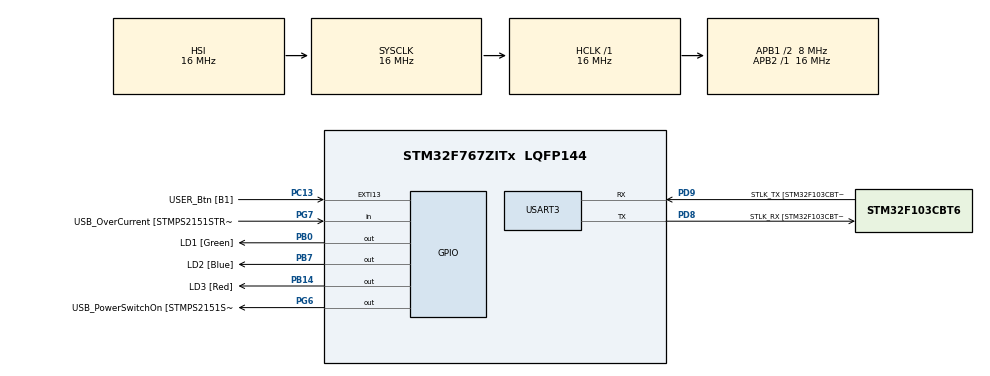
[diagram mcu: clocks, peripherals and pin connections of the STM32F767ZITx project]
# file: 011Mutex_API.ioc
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Mcu.Family=STM32F7
Mcu.Name=STM32F767ZITx
Mcu.Package=LQFP144
NVIC.PriorityGroup=NVIC_PRIORITYGROUP_4
NVIC.TIM6_DAC_IRQn=true\:15\:0\:false\:false\:true\:false\:true\:true
NVIC.TimeBase=TIM6_DAC_IRQn
NVIC.TimeBaseIP=TIM6
NVIC.USART3_IRQn=true\:6\:0\:true\:false\:true\:true\:true\:true
PA1.GPIO_Label=RMII_REF_CLK [LAN8742A-CZ-TR_REFCLK0]
PA1.Signal=ETH_REF_CLK
PA10.GPIO_Label=USB_ID
PA10.Signal=USB_OTG_FS_ID
PA11.GPIO_Label=USB_DM
PA11.Signal=USB_OTG_FS_DM
PA12.GPIO_Label=USB_DP
PA12.Signal=USB_OTG_FS_DP
PA13.GPIO_Label=TMS
PA13.Signal=SYS_JTMS-SWDIO
PA14.GPIO_Label=TCK
PA14.Signal=SYS_JTCK-SWCLK
PA2.GPIO_Label=RMII_MDIO [LAN8742A-CZ-TR_MDIO]
PA2.Signal=ETH_MDIO
PA7.GPIO_Label=RMII_CRS_DV [LAN8742A-CZ-TR_CRS_DV]
PA7.Signal=ETH_CRS_DV
PA8.GPIO_Label=USB_SOF [TP1]
PA8.Signal=USB_OTG_FS_SOF
PA9.GPIO_Label=USB_VBUS
PA9.Signal=USB_OTG_FS_VBUS
PB0.GPIO_Label=LD1 [Green]
PB0.Signal=GPIO_Output
PB13.GPIO_Label=RMII_TXD1 [LAN8742A-CZ-TR_TXD1]
PB13.Signal=ETH_TXD1
PB14.GPIO_Label=LD3 [Red]
PB14.Signal=GPIO_Output
PB3.GPIO_Label=SW0
PB3.Signal=SYS_JTDO-SWO
PB7.GPIO_Label=LD2 [Blue]
PB7.Signal=GPIO_Output
PC1.GPIO_Label=RMII_MDC [LAN8742A-CZ-TR_MDC]
PC1.Signal=ETH_MDC
PC13.GPIO_Label=USER_Btn [B1]
PC13.Signal=GPXTI13
PC14/OSC32_IN.Signal=RCC_OSC32_IN
PC15/OSC32_OUT.Signal=RCC_OSC32_OUT
PC4.GPIO_Label=RMII_RXD0 [LAN8742A-CZ-TR_RXD0]
PC4.Signal=ETH_RXD0
PC5.GPIO_Label=RMII_RXD1 [LAN8742A-CZ-TR_RXD1]
PC5.Signal=ETH_RXD1
PD8.GPIO_Label=STLK_RX [STM32F103CBT6_PA3]
PD8.Mode=Asynchronous
PD8.Signal=USART3_TX
PD9.GPIO_Label=STLK_TX [STM32F103CBT6_PA2]
PD9.Mode=Asynchronous
PD9.Signal=USART3_RX
PG11.GPIO_Label=RMII_TX_EN [LAN8742A-CZ-TR_TXEN]
PG11.Signal=ETH_TX_EN
PG13.GPIO_Label=RMII_TXD0 [LAN8742A-CZ-TR_TXD0]
PG13.Signal=ETH_TXD0
PG6.GPIO_Label=USB_PowerSwitchOn [STMPS2151STR_EN]
PG6.Signal=GPIO_Output
PG7.GPIO_Label=USB_OverCurrent [STMPS2151STR_FAULT]
PG7.Signal=GPIO_Input
PH0/OSC_IN.GPIO_Label=MCO [STM32F103CBT6_PA8]
PH0/OSC_IN.Signal=RCC_OSC_IN
PH1/OSC_OUT.Signal=RCC_OSC_OUT
ProjectManager.HeapSize=0x200
ProjectManager.StackSize=0x400
ProjectManager.TargetToolchain=STM32CubeIDE
RCC.48MHZClocksFreq_Value=24000000
RCC.AHBFreq_Value=16000000
RCC.APB1CLKDivider=RCC_HCLK_DIV2
RCC.APB1Freq_Value=8000000
RCC.APB1TimFreq_Value=16000000
RCC.APB2Freq_Value=16000000
RCC.APB2TimFreq_Value=16000000
RCC.CortexFreq_Value=16000000
RCC.HCLKFreq_Value=16000000
RCC.HSE_VALUE=16000000
RCC.HSI_VALUE=16000000
RCC.LSE_VALUE=32768
RCC.PLLMUL=RCC_PLL_MUL9
RCC.PRESCALERUSB=RCC_USBCLKSOURCE_PLL_DIV1_5
RCC.SYSCLKFreq_VALUE=16000000
RCC.SYSCLKSourceVirtual=RCC_SYSCLKSOURCE_PLLCLK
RCC.USBFreq_Value=96000000
RCC.VCOOutputFreq_Value=192000000
USART3.VirtualMode-Asynchronous=VM_ASYNC
VP_SYS_VS_tim6.Mode=TIM6
board=NUCLEO-F767ZI

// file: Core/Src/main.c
/* USER CODE BEGIN Header */
/**
  ******************************************************************************
  * @file           : main.c
  * @brief          : Main program body
  ******************************************************************************
  * @attention
  *
  * Copyright (c) 2024 STMicroelectronics.
  * All rights reserved.
  *
  * This software is licensed under terms that can be found in the LICENSE file
  * in the root directory of this software component.
  * If no LICENSE file comes with this software, it is provided AS-IS.
  *
  ******************************************************************************
  */
/* USER CODE END Header */
#include "main.h"

/* USER CODE BEGIN Includes */
#include "FreeRTOS.h"
#include "task.h"
#include <stdio.h>
#include "semphr.h"
#include "queue.h"
/* USER CODE END Includes */

/* USER CODE BEGIN PD */
#define USE_MUTEX
/* USER CODE END PD */

UART_HandleTypeDef huart3;

/* USER CODE BEGIN PV */
#define DWT_CTRL	(*(volatile uint32_t*)0xE0001000)
/* USER CODE END PV */

void SystemClock_Config(void);
static void MX_GPIO_Init(void);
static void MX_USART3_UART_Init(void);
/* USER CODE BEGIN PFP */
//global space for some variable
char usr_msg[250]={0};
TaskHandle_t xTaskHandle1=NULL;
TaskHandle_t xTaskHandle2=NULL;

/* Dimensions the buffer into which messages destined for stdout are placed. */
#define mainMAX_MSG_LEN	( 80 )

/* The task to be created.  Two instances of this task are created. */
static void prvPrintTask( void *pvParameters );

/* The function that uses a mutex to control access to standard out. */
static void prvNewPrintString( const portCHAR *pcString );

/*-----------------------------------------------------------*/

#ifdef USE_MUTEX
/* Declare a variable of type xSemaphoreHandle.  This is used to reference the
mutex type semaphore that is used to ensure mutual exclusive access to UART. */
SemaphoreHandle_t xMutex;
#endif

/* USER CODE END PFP */

int main(void)
{

  /* MCU Configuration--------------------------------------------------------*/

  /* Reset of all peripherals, Initializes the Flash interface and the Systick. */
  HAL_Init();

  /* Configure the system clock */
  SystemClock_Config();

  /* Initialize all configured peripherals */
  MX_GPIO_Init();
  MX_USART3_UART_Init();
  /* USER CODE BEGIN 2 */
  // Enable the CYCCNT counter
  CoreDebug->DEMCR |= CoreDebug_DEMCR_TRCENA_Msk;
  DWT->LAR = 0xC5ACCE55;
  DWT->CYCCNT = 0;
  DWT->CTRL |= DWT_CTRL_CYCCNTENA_Msk;

  // Start the SEGGER recorder
  SEGGER_SYSVIEW_Conf();
  SEGGER_SYSVIEW_Start();

#ifdef USE_MUTEX
    /* Before a semaphore is used it must be explicitly created.  In this example
	a mutex type semaphore is created. */
    xMutex = xSemaphoreCreateMutex();
#endif

	/* The tasks are going to use a pseudo random delay, seed the random number
	generator. */
	srand( 567 );

#ifdef USE_MUTEX
	/* Only create the tasks if the semaphore was created successfully. */
	if( xMutex != NULL )
	{
#endif
		/* Create two instances of the tasks that attempt to write stdout.  The
		string they attempt to write is passed in as the task parameter.  The tasks
		are created at different priorities so some pre-emption will occur. */
		xTaskCreate( prvPrintTask, "Print1", 240, "Task 1 ******************************************\r\n", 1, NULL );
		xTaskCreate( prvPrintTask, "Print2", 240, "Task 2 ------------------------------------------\r\n", 2, NULL );

		/* Start the scheduler so the created tasks start executing. */
		vTaskStartScheduler();
#ifdef USE_MUTEX
	}
#endif
  //if the control comes here, then the launch of the scheduler has failed due to insufficient memory in heap
  printf("INSUFFUCIENT MEMORY IN HEAP!\n");
  /* USER CODE END 2 */

  /* Infinite loop */
  while (1)
  {

  }
}

void SystemClock_Config(void)
{
  RCC_OscInitTypeDef RCC_OscInitStruct = {0};
  RCC_ClkInitTypeDef RCC_ClkInitStruct = {0};

  /** Configure the main internal regulator output voltage
  */
  __HAL_RCC_PWR_CLK_ENABLE();
  __HAL_PWR_VOLTAGESCALING_CONFIG(PWR_REGULATOR_VOLTAGE_SCALE3);

  /** Initializes the RCC Oscillators according to the specified parameters
  * in the RCC_OscInitTypeDef structure.
  */
  RCC_OscInitStruct.OscillatorType = RCC_OSCILLATORTYPE_HSI;
  RCC_OscInitStruct.HSIState = RCC_HSI_ON;
  RCC_OscInitStruct.HSICalibrationValue = RCC_HSICALIBRATION_DEFAULT;
  RCC_OscInitStruct.PLL.PLLState = RCC_PLL_NONE;
  if (HAL_RCC_OscConfig(&RCC_OscInitStruct) != HAL_OK)
  {
    Error_Handler();
  }

  /** Initializes the CPU, AHB and APB buses clocks
  */
  RCC_ClkInitStruct.ClockType = RCC_CLOCKTYPE_HCLK|RCC_CLOCKTYPE_SYSCLK
                              |RCC_CLOCKTYPE_PCLK1|RCC_CLOCKTYPE_PCLK2;
  RCC_ClkInitStruct.SYSCLKSource = RCC_SYSCLKSOURCE_HSI;
  RCC_ClkInitStruct.AHBCLKDivider = RCC_SYSCLK_DIV1;
  RCC_ClkInitStruct.APB1CLKDivider = RCC_HCLK_DIV2;
  RCC_ClkInitStruct.APB2CLKDivider = RCC_HCLK_DIV1;

  if (HAL_RCC_ClockConfig(&RCC_ClkInitStruct, FLASH_LATENCY_0) != HAL_OK)
  {
    Error_Handler();
  }
}

static void MX_USART3_UART_Init(void)
{

  huart3.Instance = USART3;
  huart3.Init.BaudRate = 115200;
  huart3.Init.WordLength = UART_WORDLENGTH_8B;
  huart3.Init.StopBits = UART_STOPBITS_1;
  huart3.Init.Parity = UART_PARITY_NONE;
  huart3.Init.Mode = UART_MODE_TX_RX;
  huart3.Init.HwFlowCtl = UART_HWCONTROL_NONE;
  huart3.Init.OverSampling = UART_OVERSAMPLING_16;
  huart3.Init.OneBitSampling = UART_ONE_BIT_SAMPLE_DISABLE;
  huart3.AdvancedInit.AdvFeatureInit = UART_ADVFEATURE_NO_INIT;
  if (HAL_UART_Init(&huart3) != HAL_OK)
  {
    Error_Handler();
  }

}

static void MX_GPIO_Init(void)
{
  GPIO_InitTypeDef GPIO_InitStruct = {0};

  /* GPIO Ports Clock Enable */
  __HAL_RCC_GPIOC_CLK_ENABLE();
  __HAL_RCC_GPIOH_CLK_ENABLE();
  __HAL_RCC_GPIOA_CLK_ENABLE();
  __HAL_RCC_GPIOB_CLK_ENABLE();
  __HAL_RCC_GPIOD_CLK_ENABLE();
  __HAL_RCC_GPIOG_CLK_ENABLE();

  /*Configure GPIO pin Output Level */
  HAL_GPIO_WritePin(GPIOB, LD1_Pin|LD3_Pin|LD2_Pin, GPIO_PIN_RESET);

  /*Configure GPIO pin Output Level */
  HAL_GPIO_WritePin(USB_PowerSwitchOn_GPIO_Port, USB_PowerSwitchOn_Pin, GPIO_PIN_RESET);

  /*Configure GPIO pin : USER_Btn_Pin */
  GPIO_InitStruct.Pin = USER_Btn_Pin;
  GPIO_InitStruct.Mode = GPIO_MODE_IT_RISING;
  GPIO_InitStruct.Pull = GPIO_NOPULL;
  HAL_GPIO_Init(USER_Btn_GPIO_Port, &GPIO_InitStruct);

  /*Configure GPIO pins : RMII_MDC_Pin RMII_RXD0_Pin RMII_RXD1_Pin */
  GPIO_InitStruct.Pin = RMII_MDC_Pin|RMII_RXD0_Pin|RMII_RXD1_Pin;
  GPIO_InitStruct.Mode = GPIO_MODE_AF_PP;
  GPIO_InitStruct.Pull = GPIO_NOPULL;
  GPIO_InitStruct.Speed = GPIO_SPEED_FREQ_VERY_HIGH;
  GPIO_InitStruct.Alternate = GPIO_AF11_ETH;
  HAL_GPIO_Init(GPIOC, &GPIO_InitStruct);

  /*Configure GPIO pins : RMII_REF_CLK_Pin RMII_MDIO_Pin RMII_CRS_DV_Pin */
  GPIO_InitStruct.Pin = RMII_REF_CLK_Pin|RMII_MDIO_Pin|RMII_CRS_DV_Pin;
  GPIO_InitStruct.Mode = GPIO_MODE_AF_PP;
  GPIO_InitStruct.Pull = GPIO_NOPULL;
  GPIO_InitStruct.Speed = GPIO_SPEED_FREQ_VERY_HIGH;
  GPIO_InitStruct.Alternate = GPIO_AF11_ETH;
  HAL_GPIO_Init(GPIOA, &GPIO_InitStruct);

  /*Configure GPIO pins : LD1_Pin LD3_Pin LD2_Pin */
  GPIO_InitStruct.Pin = LD1_Pin|LD3_Pin|LD2_Pin;
  GPIO_InitStruct.Mode = GPIO_MODE_OUTPUT_PP;
  GPIO_InitStruct.Pull = GPIO_NOPULL;
  GPIO_InitStruct.Speed = GPIO_SPEED_FREQ_LOW;
  HAL_GPIO_Init(GPIOB, &GPIO_InitStruct);

  /*Configure GPIO pin : RMII_TXD1_Pin */
  GPIO_InitStruct.Pin = RMII_TXD1_Pin;
  GPIO_InitStruct.Mode = GPIO_MODE_AF_PP;
  GPIO_InitStruct.Pull = GPIO_NOPULL;
  GPIO_InitStruct.Speed = GPIO_SPEED_FREQ_VERY_HIGH;
  GPIO_InitStruct.Alternate = GPIO_AF11_ETH;
  HAL_GPIO_Init(RMII_TXD1_GPIO_Port, &GPIO_InitStruct);

  /*Configure GPIO pin : USB_PowerSwitchOn_Pin */
  GPIO_InitStruct.Pin = USB_PowerSwitchOn_Pin;
  GPIO_InitStruct.Mode = GPIO_MODE_OUTPUT_PP;
  GPIO_InitStruct.Pull = GPIO_NOPULL;
  GPIO_InitStruct.Speed = GPIO_SPEED_FREQ_LOW;
  HAL_GPIO_Init(USB_PowerSwitchOn_GPIO_Port, &GPIO_InitStruct);

  /*Configure GPIO pin : USB_OverCurrent_Pin */
  GPIO_InitStruct.Pin = USB_OverCurrent_Pin;
  GPIO_InitStruct.Mode = GPIO_MODE_INPUT;
  GPIO_InitStruct.Pull = GPIO_NOPULL;
  HAL_GPIO_Init(USB_OverCurrent_GPIO_Port, &GPIO_InitStruct);

  /*Configure GPIO pins : USB_SOF_Pin USB_ID_Pin USB_DM_Pin USB_DP_Pin */
  GPIO_InitStruct.Pin = USB_SOF_Pin|USB_ID_Pin|USB_DM_Pin|USB_DP_Pin;
  GPIO_InitStruct.Mode = GPIO_MODE_AF_PP;
  GPIO_InitStruct.Pull = GPIO_NOPULL;
  GPIO_InitStruct.Speed = GPIO_SPEED_FREQ_VERY_HIGH;
  GPIO_InitStruct.Alternate = GPIO_AF10_OTG_FS;
  HAL_GPIO_Init(GPIOA, &GPIO_InitStruct);

  /*Configure GPIO pin : USB_VBUS_Pin */
  GPIO_InitStruct.Pin = USB_VBUS_Pin;
  GPIO_InitStruct.Mode = GPIO_MODE_INPUT;
  GPIO_InitStruct.Pull = GPIO_NOPULL;
  HAL_GPIO_Init(USB_VBUS_GPIO_Port, &GPIO_InitStruct);

  /*Configure GPIO pins : RMII_TX_EN_Pin RMII_TXD0_Pin */
  GPIO_InitStruct.Pin = RMII_TX_EN_Pin|RMII_TXD0_Pin;
  GPIO_InitStruct.Mode = GPIO_MODE_AF_PP;
  GPIO_InitStruct.Pull = GPIO_NOPULL;
  GPIO_InitStruct.Speed = GPIO_SPEED_FREQ_VERY_HIGH;
  GPIO_InitStruct.Alternate = GPIO_AF11_ETH;
  HAL_GPIO_Init(GPIOG, &GPIO_InitStruct);

}

/* USER CODE BEGIN 4 */
void printmsg(char *msg)
{
	while (__HAL_UART_GET_FLAG(&huart3,UART_FLAG_TXE) != SET);
	HAL_UART_Transmit(&huart3, (uint8_t*)msg, strlen((char*)msg), HAL_MAX_DELAY);
	while ( __HAL_UART_GET_FLAG(&huart3,UART_FLAG_TC) != SET);
}

static void prvNewPrintString( const portCHAR *pcString )
{
static char cBuffer[ mainMAX_MSG_LEN ];

#ifdef USE_MUTEX
	/* The semaphore is created before the scheduler is started so already
	exists by the time this task executes.

	Attempt to take the semaphore, blocking indefinitely if the mutex is not
	available immediately.  The call to xSemaphoreTake() will only return when
	the semaphore has been successfully obtained so there is no need to check the
	return value.  If any other delay period was used then the code must check
	that xSemaphoreTake() returns pdTRUE before accessing the resource (in this
	case standard out. */
	xSemaphoreTake( xMutex, portMAX_DELAY );
	{
#endif
		/* The following line will only execute once the semaphore has been
		successfully obtained - so standard out can be accessed freely. */
		sprintf( cBuffer, "%s", pcString );
		printmsg(cBuffer);
#ifdef USE_MUTEX
	}
	xSemaphoreGive( xMutex );
#endif

}
/*-----------------------------------------------------------*/

static void prvPrintTask( void *pvParameters )
{
char *pcStringToPrint;

	/* Two instances of this task are created so the string the task will send
	to prvNewPrintString() is passed in the task parameter.  Cast this to the
	required type. */
	pcStringToPrint = ( char * ) pvParameters;

	for( ;; )
	{
		/* Print out the string using the newly defined function. */
		prvNewPrintString( pcStringToPrint );

		/* Wait a pseudo random time.  Note that rand() is not necessarily
		re-entrant, but in this case it does not really matter as the code does
		not care what value is returned.  In a more secure application a version
		of rand() that is known to be re-entrant should be used - or calls to
		rand() should be protected using a critical section. */
		vTaskDelay( rand() & 0XF );
	}
}
/* USER CODE END 4 */

void HAL_TIM_PeriodElapsedCallback(TIM_HandleTypeDef *htim)
{
  if (htim->Instance == TIM6) {
    HAL_IncTick();
  }
}

void Error_Handler(void)
{
  __disable_irq();
  while (1)
  {
  }
}
